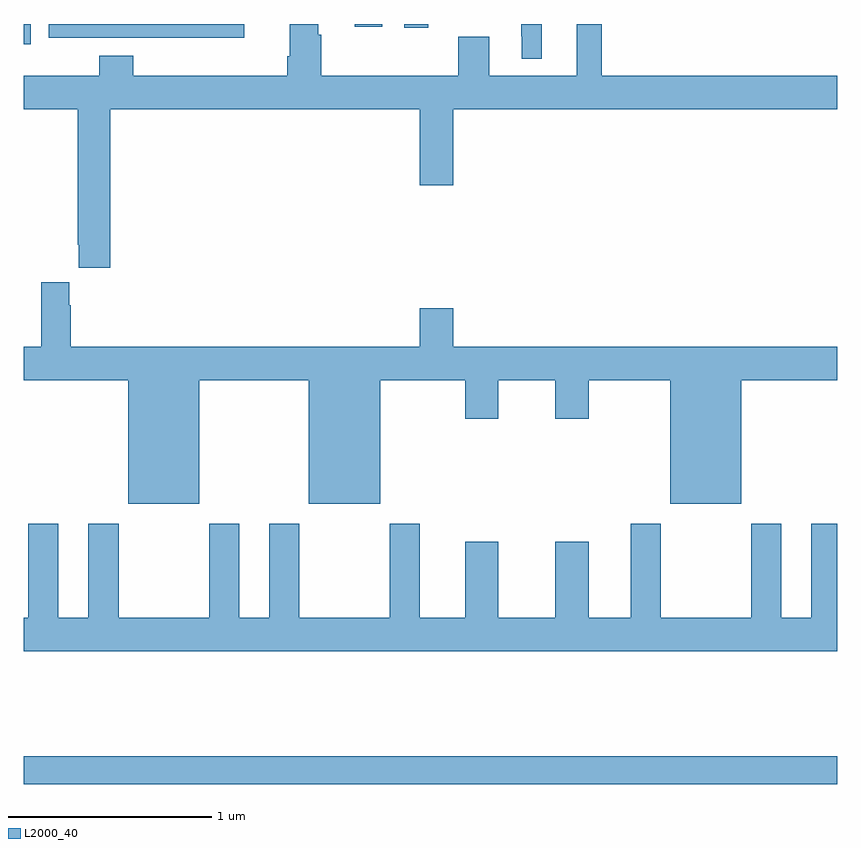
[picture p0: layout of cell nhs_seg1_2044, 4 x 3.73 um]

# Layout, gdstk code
import gdstk
lib = gdstk.Library(unit=1e-6, precision=1e-09)
def R(c, l, rs):  # rectangles x0, y0, x1, y1
    for r in rs: c.add(gdstk.rectangle(r[:2], r[2:], *l))
def P(c, l, *ps):  # polygons
    for p in ps: c.add(gdstk.Polygon(p, *l))
L2000_40 = (2000, 40)

nhs_seg1_2044 = lib.new_cell('nhs_seg1_2044')
R(nhs_seg1_2044, L2000_40, [(223,500.464,227,500.6), (223,504.099,223.035,504.199), (224.87,504.18,224.989,504.199), (224.627,504.186,224.763,504.199)])
P(nhs_seg1_2044, L2000_40, [(225.547,504.199),(225.445,504.199),(225.445,504.139),(225.449,504.139),(225.449,504.029),(225.547,504.029)],
  [(224.085,504.199),(223.125,504.199),(223.125,504.132),(223.621,504.132),(223.621,504.131),(224.085,504.131)],
  [(223.427,503.78),(224.948,503.78),(224.948,503.406),(225.112,503.406),(225.112,503.78),(227,503.78),(227,503.944),(225.842,503.944),(225.842,504.199),(225.719,504.199),(225.719,503.944),(225.289,503.944),(225.289,504.136),(225.137,504.136),(225.137,503.944),(224.462,503.944),(224.462,504.146),(224.449,504.146),(224.449,504.199),(224.309,504.199),(224.309,504.04),(224.297,504.04),(224.297,503.944),(223.538,503.944),(223.538,504.043),(223.373,504.043),(223.373,503.944),(223,503.944),(223,503.78),(223.267,503.78),(223.267,503.113),(223.271,503.113),(223.271,503.001),(223.427,503.001)],
  [(223.864,502.448),(224.402,502.448),(224.402,501.842),(224.752,501.842),(224.752,502.448),(225.17,502.448),(225.17,502.26),(225.334,502.26),(225.334,502.448),(225.614,502.448),(225.614,502.26),(225.778,502.26),(225.778,502.448),(226.178,502.448),(226.178,501.842),(226.528,501.842),(226.528,502.448),(227,502.448),(227,502.612),(225.112,502.612),(225.112,502.801),(224.948,502.801),(224.948,502.612),(223.232,502.612),(223.232,502.817),(223.225,502.817),(223.225,502.93),(223.088,502.93),(223.088,502.612),(223,502.612),(223,502.448),(223.514,502.448),(223.514,501.842),(223.864,501.842)],
  [(227,501.742),(226.871,501.742),(226.871,501.28),(226.723,501.28),(226.723,501.742),(226.576,501.742),(226.576,501.28),(226.131,501.28),(226.131,501.742),(225.983,501.742),(225.983,501.28),(225.778,501.28),(225.778,501.655),(225.614,501.655),(225.614,501.28),(225.334,501.28),(225.334,501.655),(225.17,501.655),(225.17,501.28),(224.947,501.28),(224.947,501.742),(224.8,501.742),(224.8,501.28),(224.355,501.28),(224.355,501.742),(224.207,501.742),(224.207,501.28),(224.059,501.28),(224.059,501.742),(223.912,501.742),(223.912,501.28),(223.467,501.28),(223.467,501.742),(223.319,501.742),(223.319,501.28),(223.171,501.28),(223.171,501.742),(223.024,501.742),(223.024,501.28),(223,501.28),(223,501.116),(227,501.116)])

lib.write_gds('nhs_seg1_2044.gds')
